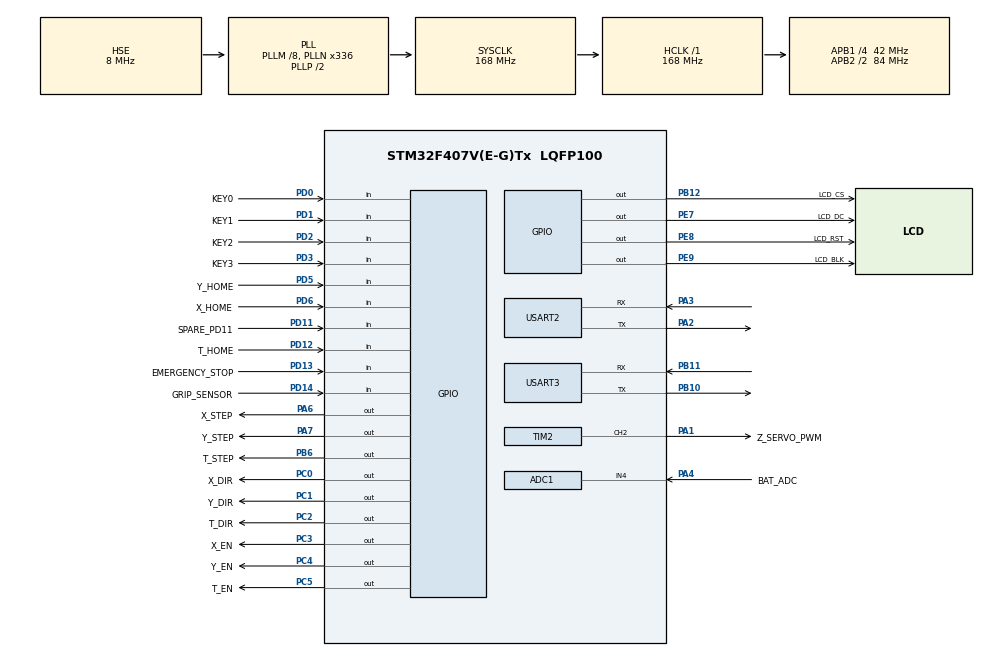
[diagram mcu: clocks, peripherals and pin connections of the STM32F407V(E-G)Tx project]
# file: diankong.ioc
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ADC1.Channel-1\#ChannelRegularConversion=ADC_CHANNEL_4
ADC1.NbrOfConversionFlag=1
ADC1.Rank-1\#ChannelRegularConversion=1
ADC1.SamplingTime-1\#ChannelRegularConversion=ADC_SAMPLETIME_84CYCLES
ADC1.master=1
Mcu.Family=STM32F4
Mcu.Name=STM32F407V(E-G)Tx
Mcu.Package=LQFP100
NVIC.ADC_IRQn=true\:4\:0\:true\:false\:true\:true\:true\:true
NVIC.PriorityGroup=NVIC_PRIORITYGROUP_4
NVIC.TIM1_UP_TIM10_IRQn=true\:1\:0\:true\:false\:true\:true\:true\:true
NVIC.TIM6_DAC_IRQn=true\:1\:0\:true\:false\:true\:true\:true\:true
NVIC.USART2_IRQn=true\:2\:0\:true\:false\:true\:true\:true\:true
NVIC.USART3_IRQn=true\:3\:0\:true\:false\:true\:true\:true\:true
PA13.Mode=Serial_Wire
PA13.Signal=SYS_JTMS-SWDIO
PA14.Mode=Serial_Wire
PA14.Signal=SYS_JTCK-SWCLK
PA2.Mode=Asynchronous
PA2.Signal=USART2_TX
PA3.Mode=Asynchronous
PA3.Signal=USART2_RX
PA4.GPIO_Label=BAT_ADC
PA4.Signal=ADCx_IN4
PA6.GPIO_Label=X_STEP
PA6.GPIO_Speed=GPIO_SPEED_FREQ_HIGH
PA6.Signal=GPIO_Output
PA7.GPIO_Label=Y_STEP
PA7.GPIO_Speed=GPIO_SPEED_FREQ_HIGH
PA7.PinState=GPIO_PIN_RESET
PA7.Signal=GPIO_Output
PA1.GPIO_Label=Z_SERVO_PWM
PA1.Signal=S_TIM2_CH2
PB10.Mode=Asynchronous
PB10.Signal=USART3_TX
PB11.Mode=Asynchronous
PB11.Signal=USART3_RX
PB12.GPIO_Label=LCD_CS
PB12.GPIO_Speed=GPIO_SPEED_FREQ_LOW
PB12.PinState=GPIO_PIN_SET
PB12.Signal=GPIO_Output
PB13.GPIO_Label=LCD_SCK
PB13.GPIO_Speed=GPIO_SPEED_FREQ_VERY_HIGH
PB13.Signal=SPI2_SCK
PB14.GPIO_Label=LCD_MISO
PB14.GPIO_Speed=GPIO_SPEED_FREQ_VERY_HIGH
PB14.Signal=SPI2_MISO
PB15.GPIO_Label=LCD_MOSI
PB15.GPIO_Speed=GPIO_SPEED_FREQ_VERY_HIGH
PB15.Signal=SPI2_MOSI
PB6.GPIO_Label=T_STEP
PB6.GPIO_Speed=GPIO_SPEED_FREQ_HIGH
PB6.Signal=GPIO_Output
PA8.GPIO_Label=SERVO_PWM
PA8.Signal=S_TIM1_CH1
PC0.GPIO_Label=X_DIR
PC0.GPIO_Speed=GPIO_SPEED_FREQ_HIGH
PC0.Signal=GPIO_Output
PC1.GPIO_Label=Y_DIR
PC1.GPIO_Speed=GPIO_SPEED_FREQ_HIGH
PC1.Signal=GPIO_Output
PC2.GPIO_Label=T_DIR
PC2.GPIO_Speed=GPIO_SPEED_FREQ_HIGH
PC2.Signal=GPIO_Output
PC3.GPIO_Label=X_EN
PC3.GPIO_Speed=GPIO_SPEED_FREQ_HIGH
PC3.Signal=GPIO_Output
PC4.GPIO_Label=Y_EN
PC4.GPIO_Speed=GPIO_SPEED_FREQ_HIGH
PC4.Signal=GPIO_Output
PC5.GPIO_Label=T_EN
PC5.GPIO_Speed=GPIO_SPEED_FREQ_HIGH
PC5.Signal=GPIO_Output
PD11.GPIO_Label=SPARE_PD11
PD11.GPIO_PuPd=GPIO_PULLUP
PD11.Signal=GPIO_Input
PD12.GPIO_Label=T_HOME
PD12.GPIO_PuPd=GPIO_PULLUP
PD12.Signal=GPIO_Input
PD13.GPIO_Label=EMERGENCY_STOP
PD13.GPIO_PuPd=GPIO_PULLUP
PD13.Signal=GPIO_Input
PD14.GPIO_Label=GRIP_SENSOR
PD14.GPIO_PuPd=GPIO_PULLUP
PD14.Signal=GPIO_Input
PD0.GPIO_Label=KEY0
PD0.GPIO_PuPd=GPIO_PULLUP
PD0.Signal=GPIO_Input
PD1.GPIO_Label=KEY1
PD1.GPIO_PuPd=GPIO_PULLUP
PD1.Signal=GPIO_Input
PD2.GPIO_Label=KEY2
PD2.GPIO_PuPd=GPIO_PULLUP
PD2.Signal=GPIO_Input
PD3.GPIO_Label=KEY3
PD3.GPIO_PuPd=GPIO_PULLUP
PD3.Signal=GPIO_Input
PD5.GPIO_Label=Y_HOME
PD5.GPIO_PuPd=GPIO_PULLUP
PD5.Signal=GPIO_Input
PD6.GPIO_Label=X_HOME
PD6.GPIO_PuPd=GPIO_PULLUP
PD6.Signal=GPIO_Input
PE7.GPIO_Label=LCD_DC
PE7.GPIO_Speed=GPIO_SPEED_FREQ_LOW
PE7.PinState=GPIO_PIN_SET
PE7.Signal=GPIO_Output
PE8.GPIO_Label=LCD_RST
PE8.GPIO_Speed=GPIO_SPEED_FREQ_LOW
PE8.PinState=GPIO_PIN_SET
PE8.Signal=GPIO_Output
PE9.GPIO_Label=LCD_BLK
PE9.GPIO_Speed=GPIO_SPEED_FREQ_LOW
PE9.PinState=GPIO_PIN_RESET
PE9.Signal=GPIO_Output
PH0-OSC_IN.Mode=HSE-External-Oscillator
PH0-OSC_IN.Signal=RCC_OSC_IN
PH1-OSC_OUT.Mode=HSE-External-Oscillator
PH1-OSC_OUT.Signal=RCC_OSC_OUT
ProjectManager.HeapSize=0x200
ProjectManager.StackSize=0x400
ProjectManager.TargetToolchain=MDK-ARM V5.32
RCC.48MHZClocksFreq_Value=84000000
RCC.AHBFreq_Value=168000000
RCC.APB1CLKDivider=RCC_HCLK_DIV4
RCC.APB1Freq_Value=42000000
RCC.APB1TimFreq_Value=84000000
RCC.APB2CLKDivider=RCC_HCLK_DIV2
RCC.APB2Freq_Value=84000000
RCC.APB2TimFreq_Value=168000000
RCC.CortexFreq_Value=168000000
RCC.HCLKFreq_Value=168000000
RCC.HSE_VALUE=8000000
RCC.HSI_VALUE=16000000
RCC.LSE_VALUE=32768
RCC.PLLM=8
RCC.PLLN=336
RCC.PLLSourceVirtual=RCC_PLLSOURCE_HSE
RCC.SYSCLKFreq_VALUE=168000000
RCC.SYSCLKSource=RCC_SYSCLKSOURCE_PLLCLK
RCC.VCOOutputFreq_Value=336000000
SH.ADCx_IN4.0=ADC1_IN4,IN4
SH.S_TIM1_CH2.0=TIM1_CH2,PWM Generation2 No Output
SH.S_TIM2_CH2.0=TIM2_CH2,PWM Generation2 CH2
SPI2.BaudRatePrescaler=SPI_BAUDRATEPRESCALER_8
SPI2.CalculateBaudRate=5.25 MBits/s
SPI2.Direction=SPI_DIRECTION_2LINES
SPI2.Mode=SPI_MODE_MASTER
SPI2.VirtualType=VM_MASTER
TIM1.Channel-PWM\ Generation2\ No\ Output=TIM_CHANNEL_2
TIM1.Period=19999
TIM1.Prescaler=167
TIM1.Pulse-PWM\ Generation2\ No\ Output=1500
TIM2.Channel-PWM\ Generation2\ CH2=TIM_CHANNEL_2
TIM2.Period=19999
TIM2.Prescaler=83
TIM2.Pulse-PWM\ Generation2\ CH2=1500
TIM6.AutoReloadPreload=TIM_AUTORELOAD_PRELOAD_ENABLE
TIM6.Period=49
TIM6.Prescaler=83
USART2.VirtualMode=VM_ASYNC
USART3.VirtualMode=VM_ASYNC
VP_TIM1_VS_ClockSourceINT.Mode=Internal
VP_TIM2_VS_ClockSourceINT.Mode=Internal
VP_TIM6_VS_ClockSourceINT.Mode=Enable_Timer
board=custom

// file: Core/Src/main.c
/* USER CODE BEGIN Header */
/**
  ******************************************************************************
  * @file           : main.c
  * @brief          : Main program body
  ******************************************************************************
  * @attention
  * Copyright (c) 2026 STMicroelectronics.
  * All rights reserved.
  *
  * This software is licensed under terms that can be found in the LICENSE file
  * in the root directory of this software component.
  * If no LICENSE file comes with this software, it is provided AS-IS.
  *
  ******************************************************************************
  */
/* USER CODE END Header */
#include "main.h"
#include "adc.h"
#include "tim.h"
#include "usart.h"
#include "spi.h"
#include "gpio.h"
#include "protocol.h"
#include "safety_manager.h"
#include "sorting_task.h"
#include "sorting_config.h"
#include "stepper_motor.h"
#include "servo_gripper.h"
#include "servo_z.h"
#include "lcd_st7789.h"
#if SORT_DEBUG_UART
#include "debug_uart.h"
#endif
#if SORT_DEBUG_CONSOLE
#include "bench_console.h"
#endif

/* 是否有台架按键需要“按住连发”：
 *   - XY 找限位模式（SORT_XY_BENCH_MODE=1）：KEY0~KEY3 全部 XY 点动；
 *   - 夹爪标定（SORT_BENCH_KEY_JUMP=0）：KEY0/KEY1；
 *   - Z 轴逐档（SORT_BENCH_KEY_Z_SERVO=1 且 ZSERVO_BENCH_KEY2/3_JUMP=0）：
 *     对应的 KEY2/KEY3。
 * 一次到位模式（JUMP=1）按下一次就跳到目标，不需要连发。 */
#if (SORT_XY_BENCH_MODE != 0) || (SORT_BENCH_KEY_JUMP == 0) || \
    ((SORT_BENCH_KEY_Z_SERVO != 0) && \
     ((ZSERVO_BENCH_KEY2_JUMP == 0) || (ZSERVO_BENCH_KEY3_JUMP == 0)))
#define BENCH_KEY_REPEAT_ENABLED        1
#else
#define BENCH_KEY_REPEAT_ENABLED        0
#endif

/* 正式分拣逻辑 + 台架按键（SORT_ENABLE_BENCH_KEYS = 1）：
 * KEY0/KEY1 直接跳到张开位 1730 / 闭合位 1420 us（SORT_BENCH_KEY_JUMP = 1）；
 * 夹爪标定（JUMP = 0 且 SERVO_GRIPPER_CALIB_MODE = 1）时改为每次 ±50 us，
 * 按住可连发。
 * KEY2/KEY3：SORT_BENCH_KEY_Z_SERVO=1（当前）时控 Z 轴：
 *   一键到最下/最上（ZSERVO_BENCH_KEY2/3_JUMP=1）或逐档 ±50 us（=0），
 *   每次从 USART3 打印 Z_PULSE=。
 *   SORT_BENCH_KEY_X_JOG=1 且 Z 按键关闭时才改回 X 轴点动（X 调试用）。
 * SORT_XY_CALIB_MODE = 1（当前）时 KEY0 改为“按下即开爪 + 长按 1 s 存投放口 X”，
 * KEY1 在 Y 未启用时仍闭合夹爪；X 轴点动改为慢速 SORT_CALIB_JOG_STEPS。
 * 正式比赛把 SORT_ENABLE_BENCH_KEYS 置 0 即可完全关闭手动入口。 */

/*
 * 工程分层：
 *   Core  - STM32 HAL、时钟、GPIO、定时器、串口和中断入口；
 *   Drivers - 步进电机和舵机等硬件抽象；
 *   Service - 通信协议和安全输入管理；
 *   App   - 分拣任务状态机。
 *
 * 运行模型：
 *   主循环负责协议解析、安全轮询和任务状态迁移；
 *   TIM6 中断只负责固定节拍的步进脉冲，任务计时用 HAL_GetTick()；
 *   USART2 接收中断只搬运字节，不在中断中执行耗时业务。
 */

void SystemClock_Config(void);
#if SORT_ENABLE_BENCH_KEYS
static uint8_t BenchKey_Allowed(void);
static void BenchKey_Process(void);
#endif

/* USER CODE BEGIN 0 */
/* 台架按键只控制夹爪，不改变步进轴任务状态。 */
/* USER CODE END 0 */

int main(void)
{

  /* MCU Configuration--------------------------------------------------------*/

  /* Reset of all peripherals, Initializes the Flash interface and the Systick. */
  HAL_Init();

  /* Configure the system clock */
  SystemClock_Config();

  /* 初始化顺序：底层 HAL/外设先完成，再启动应用模块和周期中断。 */
  MX_GPIO_Init();
  MX_TIM1_Init();
  /* Z 轴舵机使用 PA1 / TIM2_CH2 硬件 PWM（板载 LED 已拆除）；
   * 夹爪舵机信号接 PA8，由 TIM1_CH1 硬件 PWM 输出。 */
  MX_TIM2_Init();
  MX_USART2_UART_Init();
  MX_USART3_UART_Init();
  MX_SPI2_Init();
  MX_ADC1_Init();
  MX_TIM6_Init();
  /* USER CODE BEGIN 2 */
  StepperMotor_Init();
  /* 先启动 Z 轴和夹爪 PWM；夹爪初始位置与开合由分拣状态机控制，
   * 上电不再执行会阻塞 1.5 s 的舵机自检。 */
  ZServo_Init();
  ServoGripper_Init();
  /* 显示屏初始化：SPI2 + ST7789V2，初始化完成后打开背光。 */
  LCD_Init();
  /* 上电自检：整屏刷黑，确认 SPI 通路、片选和复位时序正常。 */
  LCD_FillColor(LCD_COLOR_BLACK);
  SafetyManager_Init();
  SortingTask_Init();
  Protocol_Init();
#if SORT_DEBUG_CONSOLE
  /* USART3 台架控制台：挂上单字节接收中断，用电脑串口助手模拟按键。 */
  BenchConsole_Init();
#endif
  HAL_TIM_Base_Start_IT(&htim6);
  /* USER CODE END 2 */

  /* Infinite loop */
  /* USER CODE BEGIN WHILE */
  while (1)
  {
    /* 所有函数都应保持非阻塞，步进脉冲由 TIM6 中断统一调度。 */
    SafetyManager_Process();
    ServoGripper_Process();
#if SORT_DEBUG_CONSOLE
    /* 台架串口控制台：先把 USART3 收到的字符变成虚拟按键/状态打印，
     * 下面的 BenchKey_Process 会像读真实 GPIO 一样读到这些虚拟电平。 */
    BenchConsole_Process();
#endif
#if SORT_ENABLE_BENCH_KEYS
    if (BenchKey_Allowed() != 0U)
    {
      BenchKey_Process();
    }
#endif
    Protocol_Process();
    SortingTask_Process();
    /* USER CODE END WHILE */

  }
}

void SystemClock_Config(void)
{
  RCC_OscInitTypeDef RCC_OscInitStruct = {0};
  RCC_ClkInitTypeDef RCC_ClkInitStruct = {0};

  /** Configure the main internal regulator output voltage
  */
  __HAL_RCC_PWR_CLK_ENABLE();
  __HAL_PWR_VOLTAGESCALING_CONFIG(PWR_REGULATOR_VOLTAGE_SCALE1);

  /** Initializes the RCC Oscillators according to the specified parameters
  * in the RCC_OscInitTypeDef structure.
  */
  RCC_OscInitStruct.OscillatorType = RCC_OSCILLATORTYPE_HSE;
  RCC_OscInitStruct.HSEState = RCC_HSE_ON;
  RCC_OscInitStruct.PLL.PLLState = RCC_PLL_ON;
  RCC_OscInitStruct.PLL.PLLSource = RCC_PLLSOURCE_HSE;
  /* 板上 Y2 为 8 MHz HSE；PLLM 必须与实际晶振匹配。 */
  RCC_OscInitStruct.PLL.PLLM = 8;
  RCC_OscInitStruct.PLL.PLLN = 336;
  RCC_OscInitStruct.PLL.PLLP = RCC_PLLP_DIV2;
  RCC_OscInitStruct.PLL.PLLQ = 4;
  if (HAL_RCC_OscConfig(&RCC_OscInitStruct) != HAL_OK)
  {
    Error_Handler();
  }

  /** Initializes the CPU, AHB and APB buses clocks
  */
  RCC_ClkInitStruct.ClockType = RCC_CLOCKTYPE_HCLK|RCC_CLOCKTYPE_SYSCLK
                              |RCC_CLOCKTYPE_PCLK1|RCC_CLOCKTYPE_PCLK2;
  RCC_ClkInitStruct.SYSCLKSource = RCC_SYSCLKSOURCE_PLLCLK;
  RCC_ClkInitStruct.AHBCLKDivider = RCC_SYSCLK_DIV1;
  RCC_ClkInitStruct.APB1CLKDivider = RCC_HCLK_DIV4;
  RCC_ClkInitStruct.APB2CLKDivider = RCC_HCLK_DIV2;

  if (HAL_RCC_ClockConfig(&RCC_ClkInitStruct, FLASH_LATENCY_5) != HAL_OK)
  {
    Error_Handler();
  }
}

/* USER CODE BEGIN 4 */

#if SORT_ENABLE_BENCH_KEYS
/* 读取按键原始电平：默认读 GPIO（PD0~PD3 上拉，按下为低）。
 * SORT_DEBUG_CONSOLE=1 时优先取 USART3 控制台注入的虚拟按键，
 * 后面的消抖/门控/连发/长按逻辑对“串口按键”和“真实按键”完全一样。
 * 虚拟按键只持续有限时间，到期自动回落到真实 GPIO，不会把键卡住。 */
static GPIO_PinState BenchKey_ReadRaw(uint8_t index, GPIO_TypeDef *port,
                                      uint16_t pin)
{
#if SORT_DEBUG_CONSOLE
  uint8_t pressed;

  if (BenchConsole_GetVirtualKey(index, &pressed) != 0U)
  {
    return (pressed != 0U) ? GPIO_PIN_RESET : GPIO_PIN_SET;
  }
#else
  (void)index;
#endif
  return HAL_GPIO_ReadPin(port, pin);
}

/* 台架按键门控：
 *  - 安全输入正常，且没有正在执行的分拣任务时允许按键；
 *    上电回零期间、READY、回零失败后的 ERROR 都能立即响应，便于只接
 *    夹爪舵机、没接 T_HOME 的台架测试（否则要等满回零超时时间）；
 *  - 任务执行期间（has_mission != 0）不响应，避免中途改夹爪；
 *  - 急停按下（SafetyManager_IsSafe()==0）在任何状态都不允许。
 * 注意：回零完成进入 READY 时状态机会再调一次 ServoGripper_Open()，
 * 手动在回零期间闭合的状态会被这一次“就绪开爪”覆盖。 */
static uint8_t BenchKey_Allowed(void)
{
  if (SafetyManager_IsSafe() == 0U)
  {
    return 0U;
  }
#if SORT_XY_BENCH_MODE
  /* XY 找限位台架：不接任务，只要安全就放开四个方向键。
   * 回零中途按下方向键会先停轴接管（见 BenchXY_Jog），方便方向反了立即停。 */
  return 1U;
#else
  return (SortingTask_HasMission() == 0U) ? 1U : 0U;
#endif
}

/* X 轴点动：KEY2 正向、KEY3 反向。回零后位置是相对零点的绝对步数，
 * 软限位会拦住越界；门控只要求 X 空闲（安全和“无任务”已在
 * BenchKey_Allowed 里保证），避免前一次点动没走完就叠加新目标。
 *
 * SORT_XY_CALIB_MODE=1 时改为“标定步长 + 慢速”，方便对准投放口：
 * 起步前把速度降到 SORT_CALIB_JOG_SPEED_STEPS_S，走完由
 * BenchKey_Process 开头恢复正式速度。
 *
 * Z 轴按键开启（SORT_BENCH_KEY_Z_SERVO=1）时 KEY2/KEY3 归 Z 轴用，
 * 这一整段 X 轴点动代码不编译，避免“定义了却没调用”的告警。
 * 调 X 轴时把 SORT_BENCH_KEY_Z_SERVO 置 0、SORT_BENCH_KEY_X_JOG 置 1。 */
#if SORT_BENCH_KEY_X_JOG
#if SORT_XY_CALIB_MODE
static uint8_t calib_jog_slow;
#endif

static void BenchX_Jog(int8_t direction)
{
  int32_t steps;

  if (StepperMotor_IsBusy(STEPPER_X) != 0U)
  {
    return;
  }

#if SORT_XY_CALIB_MODE
  steps = SORT_CALIB_JOG_STEPS;
  StepperMotor_SetSpeed(STEPPER_X, SORT_CALIB_JOG_SPEED_STEPS_S);
  StepperMotor_SetAcceleration(STEPPER_X, SORT_XY_ACCEL_STEPS_S2);
  calib_jog_slow = 1U;
#else
  steps = SORT_BENCH_X_JOG_STEPS;
#endif

  (void)StepperMotor_MoveRelative(STEPPER_X, (int32_t)direction * steps);
}
#endif /* SORT_BENCH_KEY_X_JOG */

/* 台架“张开夹爪”动作：KEY0 专用（一次到位/步进两种模式共用一份实现）。
 * SORT_BENCH_KEY_JUMP=1 时直接跳到张开位（默认 1730 us，SORT_BENCH_KEY_AT_LIMIT=1
 * 时用机械临界 1750 us）；=0 时按 SERVO_GRIPPER_STEP_US 步进张开。 */
#if SORT_BENCH_KEY_JUMP
static void BenchGripper_OpenAction(void)
{
#if SORT_BENCH_KEY_AT_LIMIT
  ServoGripper_JumpTo(SERVO_GRIPPER_MAX_PULSE_US, 0U);
#else
  ServoGripper_JumpTo(SERVO_GRIPPER_OPEN_PULSE_US, 0U);
#endif
}
#else
static void BenchGripper_OpenAction(void)
{
  ServoGripper_StepOpening();
}
#endif

#if SORT_XY_BENCH_MODE
/* ---------------- XY 找限位台架：四键点动（2026-11-05） ----------------
 * KEY0 = X 负向、KEY1 = X 正向、KEY2 = Y 负向、KEY3 = Y 正向。
 * 一次按下走 SORT_XY_BENCH_JOG_STEPS（默认 200 微步 ≈ 2.5 mm）；
 * 按住由 BenchKey_Process 的连发节拍每 SORT_BENCH_KEY_REPEAT_MS 再走一段。
 * 两轴完全独立：物理同时按两个键，或 USART3 控制台先后发 "1" "3"
 * （虚拟键同时有效），X/Y 会各自下发目标、由 TIM6 同时推进。
 *
 * 回零期间按下任一方向键：先调 SortingTask_Stop() 停轴并进 ERROR，
 * 再执行这次点动，方便发现方向反了立刻接管，不用断电。
 * 位置打印的是本次目标位置（运动是异步的，立即读 GetPosition 还是旧值）。 */
static void BenchXY_Jog(uint8_t key_index)
{
  StepperAxis_t axis;
  int8_t direction;
  uint32_t speed;
  int32_t target;

  if (key_index > 3U)
  {
    return;
  }
  axis = (key_index < 2U) ? STEPPER_X : STEPPER_Y;
  direction = ((key_index == 1U) || (key_index == 3U)) ? 1 : -1;

  /* 回零中（两轴同时回零或单轴三段）按下方向键：停止找零点，交给人手动点。
   * 用 SortingTask_Stop() 而不是只停电机：它会同时把状态机切到 ERROR，
   * 下一轮不会再按“回零还在走”处理，也不会再自动起动。 */
  switch (SortingTask_GetState())
  {
    case SORT_XY_HOMING_BOTH:
    case SORT_XY_HOMING_SEARCH:
    case SORT_XY_HOMING_BACKOFF:
    case SORT_XY_HOMING_APPROACH:
      SortingTask_Stop();
#if SORT_DEBUG_UART
      DebugUart_Write("HOMING ABORT (key pressed)\r\n");
#endif
      break;
    default:
      break;
  }

  /* 每次点动都用台架的慢速，避免自动任务的高速度把机构甩出去。 */
#if SORT_XY_BENCH_KEY_GOTO_END
  /* 一键到底是“绝对定位”，必须先有可信的零点；没回零时 0/5400 没有意义，
   * 盲目移动可能直接撞端，所以直接拒绝，提示重新回零。 */
  if (StepperMotor_IsPositionValid(axis) == 0U)
  {
#if SORT_DEBUG_UART
    DebugUart_Write((axis == STEPPER_X) ? "X GOTO REJECT NOT HOMED\r\n"
                                        : "Y GOTO REJECT NOT HOMED\r\n");
#endif
    return;
  }
  /* 目标直接取该方向端点（软限位值），速度用 800 步/秒。
   * MIN/MAX 宏已经按 SORT_X/Y_HOME_DIR 取好符号，不用在这里判正负。 */
  (void)direction;
  if ((key_index == 1U) || (key_index == 3U))
  {
    target = (axis == STEPPER_X) ? SORT_X_MAX_STEP : SORT_Y_MAX_STEP;
  }
  else
  {
    target = (axis == STEPPER_X) ? SORT_X_MIN_STEP : SORT_Y_MIN_STEP;
  }
  speed = SORT_XY_BENCH_END_SPEED_STEPS_S;
#else
  target = StepperMotor_GetPosition(axis) +
           (int32_t)direction * (int32_t)SORT_XY_BENCH_JOG_STEPS;
  speed = SORT_XY_BENCH_JOG_SPEED_STEPS_S;
#endif
  StepperMotor_SetSpeed(axis, speed);
  StepperMotor_SetAcceleration(axis, SORT_XY_ACCEL_STEPS_S2);

  if (StepperMotor_IsTargetValid(axis, target) == 0U)
  {
#if SORT_DEBUG_UART
    DebugUart_Write((axis == STEPPER_X) ? "X JOG REJECT LIMIT\r\n"
                                        : "Y JOG REJECT LIMIT\r\n");
#endif
    return;
  }
  if (StepperMotor_MoveTo(axis, target) != HAL_OK)
  {
#if SORT_DEBUG_UART
    DebugUart_Write((axis == STEPPER_X) ? "X JOG REJECT\r\n"
                                        : "Y JOG REJECT\r\n");
#endif
    return;
  }

#if SORT_DEBUG_UART
  /* 两轴各自打印，方便同时点动时对照机械位置；
   * 回零失败/被按键中断后位置无效，这时只是“从当前计数再走这么多”，
   * 不是相对零点的绝对坐标（POS_OK=0 时注意）。 */
#if SORT_XY_BENCH_KEY_GOTO_END
  DebugUart_WriteInt((axis == STEPPER_X) ? "X_GOTO=" : "Y_GOTO=", target);
#else
  DebugUart_WriteInt((axis == STEPPER_X) ? "X_POS=" : "Y_POS=", target);
#endif
  DebugUart_WriteInt("POS_OK=",
                     (int32_t)StepperMotor_IsPositionValid(axis));
#endif
}
#endif /* SORT_XY_BENCH_MODE */

static void BenchKey_Process(void)
{
  static GPIO_PinState stable[4] = {
      GPIO_PIN_SET, GPIO_PIN_SET, GPIO_PIN_SET, GPIO_PIN_SET};
  static GPIO_PinState last_raw[4] = {
      GPIO_PIN_SET, GPIO_PIN_SET, GPIO_PIN_SET, GPIO_PIN_SET};
  static uint32_t changed_tick[4] = {0U, 0U, 0U, 0U};
#if BENCH_KEY_REPEAT_ENABLED
  /* 上一次执行动作的时刻：KEY1 夹爪标定（JUMP=0）、Z 轴步进标定（KEY2/KEY3）
   * 按住不放时按这个节拍连发。KEY0 在投放口标定模式下不连发，见下面的条件。
   * 没有按键需要连发时整个变量一起裁掉，避免“赋值未使用”告警。 */
  static uint32_t last_action_tick[4] = {0U, 0U, 0U, 0U};
#endif
#if SORT_XY_CALIB_MODE
  /* KEY0 短按/长按：按下即开爪并开始计时；按住满
   * SORT_DROP_KEY_LONG_PRESS_MS 才执行一次“存投放口 X”，每次按住只存一次。
   * 任务抢占按键（门控关闭）后 stable[0] 会回到释放态，下一轮顺带清状态。 */
  static uint8_t key0_hold_active;
  static uint8_t key0_long_fired;
  static uint32_t key0_hold_tick;
#endif
  uint8_t pressed[4] = {0U, 0U, 0U, 0U};
  static uint8_t initialized;
  static uint32_t last_call_tick;
  static GPIO_TypeDef *const ports[4] = {
      KEY0_GPIO_Port, KEY1_GPIO_Port, KEY2_GPIO_Port, KEY3_GPIO_Port};
  static const uint16_t pins[4] = {KEY0_Pin, KEY1_Pin, KEY2_Pin, KEY3_Pin};
  uint32_t now = HAL_GetTick();
  uint32_t i;

#if SORT_XY_CALIB_MODE && SORT_BENCH_KEY_X_JOG
  /* 标定慢速点动已经走完：恢复正式速度，避免下一次自动任务也慢速。 */
  if ((calib_jog_slow != 0U) && (StepperMotor_IsBusy(STEPPER_X) == 0U))
  {
    StepperMotor_SetSpeed(STEPPER_X, SORT_XY_MAX_SPEED_STEPS_S);
    StepperMotor_SetAcceleration(STEPPER_X, SORT_XY_ACCEL_STEPS_S2);
    calib_jog_slow = 0U;
  }
#endif

  /*
   * 先同步一次上电电平，避免按键在复位时已经按下却被误判为
   * 一次不完整的边沿。后续动作在稳定按下沿触发。
   */
  if (!initialized)
  {
    for (i = 0U; i < 4U; ++i)
    {
      stable[i] = BenchKey_ReadRaw(i, ports[i], pins[i]);
      last_raw[i] = stable[i];
      changed_tick[i] = now;
#if BENCH_KEY_REPEAT_ENABLED
      last_action_tick[i] = now;
#endif
    }
    initialized = 1U;
  }

  /*
   * 门控中断后恢复：任务执行期间主循环不调用本函数，stable/last_raw 可能
   * 已经过期（例如按住 KEY0 时来了任务，任务结束后才恢复）。这里把四个键
   * 重新同步成当前电平并清掉 KEY0 长按状态，避免恢复瞬间误开爪/误存投放口。
   * 正常运行时主循环每轮都调用，间隔 < 1 ms，不会进入这个分支。
   */
  if ((last_call_tick != 0U) &&
      ((uint32_t)(now - last_call_tick) > (SORT_BENCH_KEY_DEBOUNCE_MS * 5U)))
  {
    for (i = 0U; i < 4U; ++i)
    {
      stable[i] = BenchKey_ReadRaw(i, ports[i], pins[i]);
      last_raw[i] = stable[i];
      changed_tick[i] = now;
#if BENCH_KEY_REPEAT_ENABLED
      last_action_tick[i] = now;
#endif
    }
#if SORT_XY_CALIB_MODE
    key0_hold_active = 0U;
    key0_long_fired = 0U;
#endif
  }
  last_call_tick = now;

  for (i = 0U; i < 4U; ++i)
  {
    GPIO_PinState raw = BenchKey_ReadRaw(i, ports[i], pins[i]);

    if (raw != last_raw[i])
    {
      last_raw[i] = raw;
      changed_tick[i] = now;
    }
    if (raw != stable[i] &&
        (uint32_t)(now - changed_tick[i]) >= SORT_BENCH_KEY_DEBOUNCE_MS)
    {
      /* 只在“释放 -> 按下”的稳定边沿记录一次动作；
       * 按住不放不会连发，松开后再次按下才会再触发。 */
      if ((stable[i] == GPIO_PIN_SET) && (raw == GPIO_PIN_RESET))
      {
        pressed[i] = 1U;
      }
      stable[i] = raw;
    }
  }

  /*
   * 按键动作：一次到位模式按一下动一次；步进标定模式首次按下走一步，
   * 按住不放则每 SORT_BENCH_KEY_REPEAT_MS 再走一步，省得为几步反复点击：
   *   - 夹爪标定（SORT_BENCH_KEY_JUMP=0）：KEY0/KEY1 连发；
   *     但投放口标定开启（SORT_XY_CALIB_MODE=1）时 KEY0 要留给长按计时，不连发；
   *   - Z 轴逐档（SORT_BENCH_KEY_Z_SERVO=1 且 ZSERVO_BENCH_KEY2/3_JUMP=0）：
   *     KEY2/KEY3 连发；
   * Z 轴两个键当前都是一键到位（ZSERVO_BENCH_KEY2/3_JUMP=1），只在按下沿走一次。
   * 其余情况下 KEY2/KEY3（X 轴点动）也只在按下沿触发一次。
   */
  for (i = 0U; i < 4U; ++i)
  {
    uint8_t act = pressed[i];

#if BENCH_KEY_REPEAT_ENABLED
    if ((act == 0U) && (stable[i] == GPIO_PIN_RESET) &&
        ((uint32_t)(now - last_action_tick[i]) >= SORT_BENCH_KEY_REPEAT_MS))
    {
      uint8_t repeatable = 0U;

#if (SORT_BENCH_KEY_JUMP == 0)
      /* 投放口标定开启（SORT_XY_CALIB_MODE=1）时 KEY0 走“短按开爪/长按存投放口”，
       * 不参与连发，否则按住 1 s 会被连发不断重置计时，长按永远触发不了。 */
      if ((i == 1U) || ((i == 0U) && (SORT_XY_CALIB_MODE == 0)))
      {
        repeatable = 1U;
      }
#endif
#if (SORT_BENCH_KEY_Z_SERVO != 0)
      /* 只有“逐档”那一侧的键需要连发；一键到位只在按下沿跳一次。 */
      if (((i == 2U) && (ZSERVO_BENCH_KEY2_JUMP == 0)) ||
          ((i == 3U) && (ZSERVO_BENCH_KEY3_JUMP == 0)))
      {
        repeatable = 1U;
      }
#endif
#if SORT_XY_BENCH_MODE
      /* XY 台架：放在最后，覆盖上面两段的结论。
       * 一键到底模式目标固定，按住重复下发没有意义 → 不连发；
       * 点动模式下由 SORT_XY_BENCH_JOG_REPEAT 决定是否按住连发。
       * 量行程请直接读 X_POS/Y_POS，不要用“按了几次 × 200”折算
       * （只有 JOG_REPEAT=0 时次数才等于步数）。 */
#if SORT_XY_BENCH_KEY_GOTO_END
      repeatable = 0U;
#else
      repeatable = (SORT_XY_BENCH_JOG_REPEAT != 0) ? 1U : 0U;
#endif
#endif
      if (repeatable != 0U)
      {
        act = 1U;
      }
    }
#endif

    if (act != 0U)
    {
#if BENCH_KEY_REPEAT_ENABLED
      last_action_tick[i] = now;
#endif
#if SORT_XY_BENCH_MODE
      /* XY 找限位台架：四个键全部给 XY 点动。
       * 夹爪/Z 轴的按键语义整段跳过（continue），互不干扰。 */
      BenchXY_Jog(i);
      continue;
#endif
#if SORT_XY_CALIB_MODE
      /* 投放口标定：KEY0 按下即开爪并开始长按计时，长按满
       * SORT_DROP_KEY_LONG_PRESS_MS 才存投放口 X（见函数末尾）；
       * KEY1 在 Y 启用（SORT_ENABLE_Y_AXIS=1）时存当前 Y。 */
      if (i == 0U)
      {
        BenchGripper_OpenAction();
        key0_hold_active = 1U;
        key0_long_fired = 0U;
        key0_hold_tick = now;
        continue;
      }
#if SORT_ENABLE_Y_AXIS
      if (i == 1U)
      {
        (void)SortingTask_SaveDropY();
        continue;
      }
#endif
#endif
#if SORT_BENCH_KEY_JUMP
      /* 一次到位：KEY0 直接到张开位，KEY1 直接到闭合位。
       * 视觉未就绪时用它手动模拟夹爪状态，不必按几十次。 */
      if (i == 0U)
      {
        BenchGripper_OpenAction();
      }
      else if (i == 1U)
      {
#if SORT_BENCH_KEY_AT_LIMIT
        ServoGripper_JumpTo(SERVO_GRIPPER_MIN_PULSE_US, 1U);
#else
        ServoGripper_JumpTo(SERVO_GRIPPER_CLOSE_PULSE_US, 1U);
#endif
      }
#else
      /* 标定模式：每次 SERVO_GRIPPER_STEP_US（50 us，KEY0 加、KEY1 减），按住可连发。 */
      if (i == 0U)
      {
        BenchGripper_OpenAction();
      }
      else if (i == 1U)
      {
        ServoGripper_StepClosing();
      }
#endif
      /* KEY2/KEY3：
       *   SORT_BENCH_KEY_Z_SERVO=1（当前）：控 Z 轴
       *     ZSERVO_BENCH_KEY2/3_JUMP=1（当前）：KEY2 一键到最下 2500 us、
       *       KEY3 一键到最上 1200 us，按下沿一次、不连发；
       *     = 0 时每次 ±ZSERVO_STEP_US（50 us），按住连发；
       *   每次动作都从 USART3 打印 Z_PULSE=。
       *   否则若 SORT_BENCH_KEY_X_JOG=1：KEY2 正向、KEY3 反向点动 X；
       *   两者都关时 KEY2/KEY3 不动作。 */
#if SORT_BENCH_KEY_Z_SERVO
      if (i == 2U)
      {
#if ZSERVO_BENCH_KEY2_JUMP
        ZServo_JumpTo(ZSERVO_PULSE_BOTTOM_US);
#else
        ZServo_StepPulse(+1);
#endif
#if SORT_DEBUG_UART
        DebugUart_WriteInt("Z_PULSE=", (int32_t)ZServo_GetPulse());
#endif
      }
      else if (i == 3U)
      {
#if ZSERVO_BENCH_KEY3_JUMP
        ZServo_JumpTo(ZSERVO_PULSE_TOP_US);
#else
        ZServo_StepPulse(-1);
#endif
#if SORT_DEBUG_UART
        DebugUart_WriteInt("Z_PULSE=", (int32_t)ZServo_GetPulse());
#endif
      }
#elif SORT_BENCH_KEY_X_JOG
      if (i == 2U)
      {
        BenchX_Jog(+1);
      }
      else if (i == 3U)
      {
        BenchX_Jog(-1);
      }
#endif
    }
  }

#if SORT_XY_CALIB_MODE
  /* KEY0 长按判据：按住满 SORT_DROP_KEY_LONG_PRESS_MS 才存一次投放口。
   * 按下那一轮刚把 key0_hold_tick 置成 now，所以这里不会立刻触发；
   * key0_long_fired 保证“一次按住只存一次”，继续按住不刷串口。
   * stable[0] 回到释放态（松手）时清状态，下次按下重新计时。 */
  if (key0_hold_active != 0U)
  {
    /* 必须“消抖后仍是按下”且“当前原始电平也是按下”才算继续长按：
     * 松开时原始电平立刻变高，这样 980~1000 ms 松手不会被误判成长按。 */
    if ((stable[0] == GPIO_PIN_RESET) && (last_raw[0] == GPIO_PIN_RESET))
    {
      if ((key0_long_fired == 0U) &&
          ((uint32_t)(now - key0_hold_tick) >= SORT_DROP_KEY_LONG_PRESS_MS))
      {
        key0_long_fired = 1U;
        (void)SortingTask_SaveDropX();
      }
    }
    else
    {
      key0_hold_active = 0U;
      key0_long_fired = 0U;
    }
  }
#endif
}

#endif /* SORT_ENABLE_BENCH_KEYS */

/* USER CODE END 4 */

void Error_Handler(void)
{
  __disable_irq();
  while (1)
  {
  }
}
